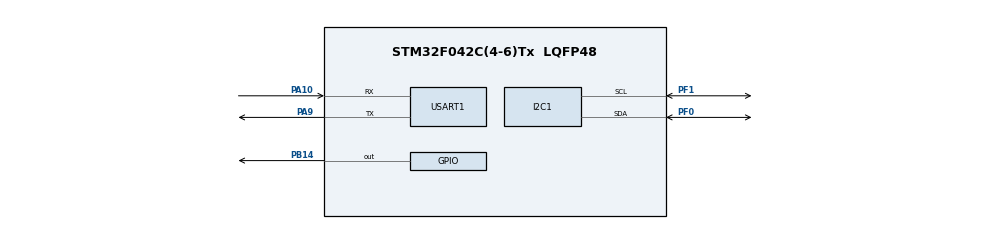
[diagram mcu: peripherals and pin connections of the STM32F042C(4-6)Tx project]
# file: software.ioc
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Mcu.Family=STM32F0
Mcu.Name=STM32F042C(4-6)Tx
Mcu.Package=LQFP48
PA10.Mode=Asynchronous
PA10.Signal=USART1_RX
PA9.Mode=Asynchronous
PA9.Signal=USART1_TX
PB14.Signal=GPIO_Output
PF0-OSC_IN.Mode=I2C
PF0-OSC_IN.Signal=I2C1_SDA
PF1-OSC_OUT.Mode=I2C
PF1-OSC_OUT.Signal=I2C1_SCL
ProjectManager.HeapSize=0x200
ProjectManager.StackSize=0x400
ProjectManager.TargetToolchain=STM32CubeIDE
USART1.VirtualMode-Asynchronous=VM_ASYNC
board=custom

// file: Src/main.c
/* USER CODE BEGIN Header */
/**
  ******************************************************************************
  * @file           : main.c
  * @brief          : Main program body
  ******************************************************************************
  * @attention
  *
  * <h2><center>&copy; Copyright (c) 2020 STMicroelectronics.
  * All rights reserved.</center></h2>
  *
  * This software component is licensed by ST under BSD 3-Clause license,
  * the "License"; You may not use this file except in compliance with the
  * License. You may obtain a copy of the License at:
  *                        opensource.org/licenses/BSD-3-Clause
  *
  ******************************************************************************
  */
/* USER CODE END Header */
#include "main.h"

/* USER CODE BEGIN Includes */
#include <stdio.h>
#include <string.h>
#include "bq769x0.h"
/* USER CODE END Includes */

I2C_HandleTypeDef hi2c1;

UART_HandleTypeDef huart1;

void SystemClock_Config(void);
static void MX_GPIO_Init(void);
static void MX_I2C1_Init(void);
static void MX_USART1_UART_Init(void);
/* USER CODE BEGIN PFP */
void PrintI2CStatus(uint8_t status);
/* USER CODE END PFP */

/* USER CODE BEGIN 0 */
#define BMS_NUM_CELLS 10
static uint8_t cells[BMS_NUM_CELLS] = { 0, 1, 2, 4, 5, 6, 7, 8, 9, 10 };
static uint16_t cell_voltages[BMS_NUM_CELLS];

/* USER CODE END 0 */

int main(void)
{
  /* USER CODE BEGIN 1 */
	char msg[20];

	bq769x0_config_t bq769x0_config;
	bq769x0_config.ovp = 0;
	bq769x0_config.uvp = 0;

	uint8_t status = 0;

  /* USER CODE END 1 */

  /* MCU Configuration--------------------------------------------------------*/

  /* Reset of all peripherals, Initializes the Flash interface and the Systick. */
  HAL_Init();

  /* Configure the system clock */
  SystemClock_Config();

  /* Initialize all configured peripherals */
  MX_GPIO_Init();
  MX_I2C1_Init();
  MX_USART1_UART_Init();
  /* USER CODE BEGIN 2 */
	char str[50] ={0};
	bq769x0_boot(GPIOB, GPIO_PIN_14);

	if(bq769x0_configure(hi2c1, bq769x0_config) < 0) {
		sprintf(msg, "ERROR: BQ Failed to Config.\r\n");
		HAL_UART_Transmit(&huart1, (uint8_t*)msg,
					 strlen((char*)msg), HAL_MAX_DELAY);
	}
  /* USER CODE END 2 */

  /* Infinite loop */
  /* USER CODE BEGIN WHILE */
	// BQ7 main part
	if(bq769x0_read_status(hi2c1, &status) != HAL_OK) {
		sprintf(msg, "ERROR: Failed get Status\n\r");
		HAL_UART_Transmit(&huart1, (uint8_t*)msg,
					strlen(msg), HAL_MAX_DELAY);
	} else {
		sprintf(msg, "CC_Ready: %d;\n\rXReady: %d;\n\rALERT: %d\n\r",
				status<<BQ769X0_REG_STAT_CC_READY,
				status<<BQ769X0_REG_STAT_DEVICE_XREADY,
				status<<BQ769X0_REG_STAT_OVRD_ALERT);
		HAL_UART_Transmit(&huart1, (uint8_t*)msg,
						strlen(msg), HAL_MAX_DELAY);
		sprintf(msg, "UV: %d;\n\rOV: %d;\n\rSCD: %d\n\rOCD: %d\n\r",
						status<<BQ769X0_REG_STAT_UV,
						status<<BQ769X0_REG_STAT_OV,
						status<<BQ769X0_REG_STAT_SCD,
						status<<BQ769X0_REG_STAT_OCD);
				HAL_UART_Transmit(&huart1, (uint8_t*)msg,
								strlen(msg), HAL_MAX_DELAY);
		PrintI2CStatus(status);
	}
	if (bq769x0_status_error(status)) {
		sprintf(msg, "Err: Status\n\r");
		HAL_UART_Transmit(&huart1, (uint8_t*)msg,
					strlen(msg), HAL_MAX_DELAY);
	}
  while (1)
  {
    /* USER CODE END WHILE */

    /* USER CODE BEGIN 3 */
		sprintf(str, "Single Loop: \n\r");
		HAL_UART_Transmit(&huart1, (uint8_t*)str,
					strlen(str), HAL_MAX_DELAY);

		// Getting Voltage values from BQ Board
		sprintf(msg, "Cells:\n\r");
		HAL_UART_Transmit(&huart1, (uint8_t*)msg,
					strlen(msg), HAL_MAX_DELAY);
		for (int i = 0; i < BMS_NUM_CELLS; i++) {
			if(bq769x0_read_voltage(hi2c1, cells[i],
					&cell_voltages[i]) != HAL_OK) {
				sprintf(msg, "Err c%d: voltage\n\r", i);
				HAL_UART_Transmit(&huart1, (uint8_t*)msg,
							strlen(msg), HAL_MAX_DELAY);
			} else {
				sprintf(msg, "V%d: %hu\n\r", i, cell_voltages[i]);
				HAL_UART_Transmit(&huart1, (uint8_t*)msg,
							strlen(msg), HAL_MAX_DELAY);
			}
		}
		sprintf(msg, "\n\r\n\r");
		HAL_UART_Transmit(&huart1, (uint8_t*)msg,
					strlen(msg), HAL_MAX_DELAY);

		HAL_Delay(3000);

  }
  /* USER CODE END 3 */
}

void SystemClock_Config(void)
{
  RCC_OscInitTypeDef RCC_OscInitStruct = {0};
  RCC_ClkInitTypeDef RCC_ClkInitStruct = {0};
  RCC_PeriphCLKInitTypeDef PeriphClkInit = {0};

  /** Initializes the RCC Oscillators according to the specified parameters
  * in the RCC_OscInitTypeDef structure.
  */
  RCC_OscInitStruct.OscillatorType = RCC_OSCILLATORTYPE_HSI;
  RCC_OscInitStruct.HSIState = RCC_HSI_ON;
  RCC_OscInitStruct.HSICalibrationValue = RCC_HSICALIBRATION_DEFAULT;
  RCC_OscInitStruct.PLL.PLLState = RCC_PLL_NONE;
  if (HAL_RCC_OscConfig(&RCC_OscInitStruct) != HAL_OK)
  {
    Error_Handler();
  }
  /** Initializes the CPU, AHB and APB buses clocks
  */
  RCC_ClkInitStruct.ClockType = RCC_CLOCKTYPE_HCLK|RCC_CLOCKTYPE_SYSCLK
                              |RCC_CLOCKTYPE_PCLK1;
  RCC_ClkInitStruct.SYSCLKSource = RCC_SYSCLKSOURCE_HSI;
  RCC_ClkInitStruct.AHBCLKDivider = RCC_SYSCLK_DIV1;
  RCC_ClkInitStruct.APB1CLKDivider = RCC_HCLK_DIV1;

  if (HAL_RCC_ClockConfig(&RCC_ClkInitStruct, FLASH_LATENCY_0) != HAL_OK)
  {
    Error_Handler();
  }
  PeriphClkInit.PeriphClockSelection = RCC_PERIPHCLK_USART1|RCC_PERIPHCLK_I2C1;
  PeriphClkInit.Usart1ClockSelection = RCC_USART1CLKSOURCE_PCLK1;
  PeriphClkInit.I2c1ClockSelection = RCC_I2C1CLKSOURCE_HSI;
  if (HAL_RCCEx_PeriphCLKConfig(&PeriphClkInit) != HAL_OK)
  {
    Error_Handler();
  }
}

static void MX_I2C1_Init(void)
{

  hi2c1.Instance = I2C1;
  hi2c1.Init.Timing = 0x2000090E;
  hi2c1.Init.OwnAddress1 = 0;
  hi2c1.Init.AddressingMode = I2C_ADDRESSINGMODE_7BIT;
  hi2c1.Init.DualAddressMode = I2C_DUALADDRESS_DISABLE;
  hi2c1.Init.OwnAddress2 = 0;
  hi2c1.Init.OwnAddress2Masks = I2C_OA2_NOMASK;
  hi2c1.Init.GeneralCallMode = I2C_GENERALCALL_DISABLE;
  hi2c1.Init.NoStretchMode = I2C_NOSTRETCH_DISABLE;
  if (HAL_I2C_Init(&hi2c1) != HAL_OK)
  {
    Error_Handler();
  }
  /** Configure Analogue filter
  */
  if (HAL_I2CEx_ConfigAnalogFilter(&hi2c1, I2C_ANALOGFILTER_ENABLE) != HAL_OK)
  {
    Error_Handler();
  }
  /** Configure Digital filter
  */
  if (HAL_I2CEx_ConfigDigitalFilter(&hi2c1, 0) != HAL_OK)
  {
    Error_Handler();
  }

}

static void MX_USART1_UART_Init(void)
{

  huart1.Instance = USART1;
  huart1.Init.BaudRate = 38400;
  huart1.Init.WordLength = UART_WORDLENGTH_8B;
  huart1.Init.StopBits = UART_STOPBITS_1;
  huart1.Init.Parity = UART_PARITY_NONE;
  huart1.Init.Mode = UART_MODE_TX_RX;
  huart1.Init.HwFlowCtl = UART_HWCONTROL_NONE;
  huart1.Init.OverSampling = UART_OVERSAMPLING_16;
  huart1.Init.OneBitSampling = UART_ONE_BIT_SAMPLE_DISABLE;
  huart1.AdvancedInit.AdvFeatureInit = UART_ADVFEATURE_NO_INIT;
  if (HAL_UART_Init(&huart1) != HAL_OK)
  {
    Error_Handler();
  }

}

static void MX_GPIO_Init(void)
{
  GPIO_InitTypeDef GPIO_InitStruct = {0};

  /* GPIO Ports Clock Enable */
  __HAL_RCC_GPIOF_CLK_ENABLE();
  __HAL_RCC_GPIOB_CLK_ENABLE();
  __HAL_RCC_GPIOA_CLK_ENABLE();

  /*Configure GPIO pin Output Level */
  HAL_GPIO_WritePin(GPIOB, GPIO_PIN_14, GPIO_PIN_RESET);

  /*Configure GPIO pin : PB14 */
  GPIO_InitStruct.Pin = GPIO_PIN_14;
  GPIO_InitStruct.Mode = GPIO_MODE_OUTPUT_PP;
  GPIO_InitStruct.Pull = GPIO_NOPULL;
  GPIO_InitStruct.Speed = GPIO_SPEED_FREQ_LOW;
  HAL_GPIO_Init(GPIOB, &GPIO_InitStruct);

}

/* USER CODE BEGIN 4 */
void PrintI2CStatus(uint8_t status){
	char msg[50];
	sprintf(msg, "\t\tStatusMessage\n\r");
	HAL_UART_Transmit(&huart1, (uint8_t*)msg,
				strlen(msg), HAL_MAX_DELAY);
	int i = 0;
	for (unsigned int mask = 0x80; mask != 0; mask >>= 1) {
		switch(i){
			case 0:
				sprintf(msg, "STAT_OCD:");
				HAL_UART_Transmit(&huart1, (uint8_t*)msg,
								strlen(msg), HAL_MAX_DELAY);
				break;
			case 1:
				sprintf(msg, "STAT_SCD:");
				HAL_UART_Transmit(&huart1, (uint8_t*)msg,
								strlen(msg), HAL_MAX_DELAY);
				break;
			case 2:
				sprintf(msg, "STAT_OV:");
				HAL_UART_Transmit(&huart1, (uint8_t*)msg,
								strlen(msg), HAL_MAX_DELAY);
				break;
			case 3:
				sprintf(msg, "STAT_UV:");
				HAL_UART_Transmit(&huart1, (uint8_t*)msg,
								strlen(msg), HAL_MAX_DELAY);
				break;
			case 4:
				sprintf(msg, "STAT_OCRD ALERT:");
				HAL_UART_Transmit(&huart1, (uint8_t*)msg,
								strlen(msg), HAL_MAX_DELAY);
				break;
			case 5:
				sprintf(msg, "STAT_DEV_XREADY:");
				HAL_UART_Transmit(&huart1, (uint8_t*)msg,
								strlen(msg), HAL_MAX_DELAY);
				break;
			case 7:
				sprintf(msg, "STAT_CC_READY:");
				HAL_UART_Transmit(&huart1, (uint8_t*)msg,
								strlen(msg), HAL_MAX_DELAY);
				break;
		}
		i++;
		if(status & mask) {
			sprintf(msg, "%d\n\r",1);
			HAL_UART_Transmit(&huart1, (uint8_t*)msg,
							strlen(msg), HAL_MAX_DELAY);
		} else {
			sprintf(msg, "%d\n\r",0);
			HAL_UART_Transmit(&huart1, (uint8_t*)msg,
							strlen(msg), HAL_MAX_DELAY);
		}
	}
}
/* USER CODE END 4 */

void Error_Handler(void)
{
}

/************************ (C) COPYRIGHT STMicroelectronics *****END OF FILE****/
